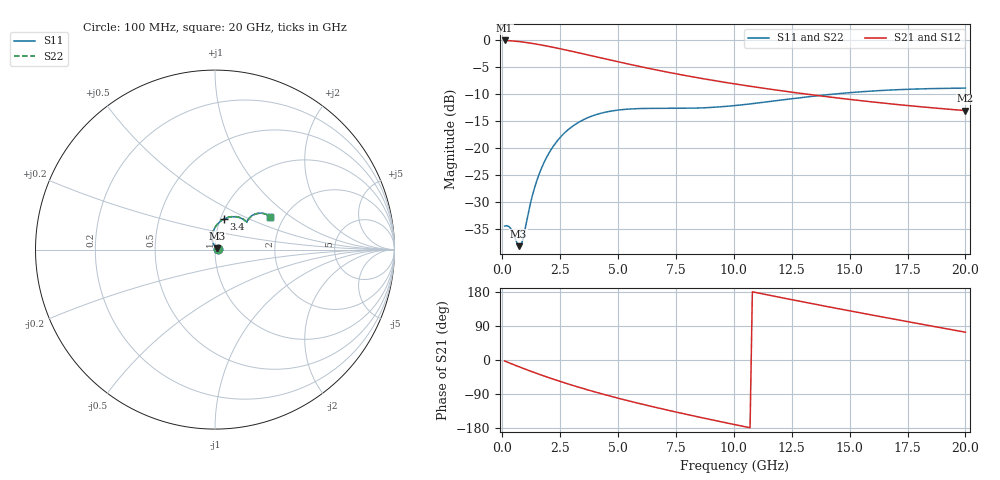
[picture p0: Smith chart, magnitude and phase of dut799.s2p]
! Touchstone file exported from HFSS 2024.1.0
!  File:  C:/UserFiles/LocalFiles/RDL_TSV_Batchsim/temp_RDL_TSV_799_1779910211.aedt
!  Generated:  03:47:18 AM May 28, 2026
!  Design:  RDL_TSV
!  Project:  temp_RDL_TSV_799_1779910211
!  Setup:  Setup1
!  Solution:  Sweep
! Variables:
!  dtsv = 11.04um
!  hbump = 3um
!  htsv = 88.55um
!  ldown = 671.82um
!  lrdl = 531.01um
!  p = 40
!  p1 = 55.19um
!  rhole = 10um
!  subl = 4139.5um
!  t = 450um
!  tdown = 3.59um
!  trdl = 3.12um
!  viad = 10um
!  wdown = 27.56um
!  wrdl = 21.43um
!  xbump = 18um
# GHz S MA R 50.000000
! Terminal data exported
! Port[1] = TM1_1_T1
! Port[2] = TM1_4_T1
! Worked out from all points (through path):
!   200 points, 100 MHz to 20 GHz, reference 50 ohm
!   highest |S21| = -0.17 dB at 100 MHz (marker M1); lowest = -13.1 dB at 20 GHz (marker M2)
!   group delay of S21, straight-line fit = 37.6 ps
!   lowest |S11| = -38.1 dB at 700 MHz (marker M3), VSWR 1.03, Z = 50.9 + j0.838 ohm
!   |S11| at or under -10 dB: start of sweep to 14.46 GHz
!   |S22| runs from -38.1 to -9.0 dB; largest |S21 - S12| = 1.3e-14
!   S11 on the Smith chart (normalised r, x): 100 MHz: 1.04, +0.00; 3.4 GHz: 1.04, +0.37; 20 GHz: 1.70, +0.71
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0.1  0.01907 4.6  0.9803 -2.6  0.9803 -2.6  0.01907 4.6
! Gamma 0 0 0 0
! Port Impedance 50 0 50 0
0.4  0.0176 12.4  0.9718 -10.1  0.9718 -10.1  0.01759 12.4
0.7  0.01245 41.3  0.9585 -17.3  0.9585 -17.3  0.01243 41.6
0.8  0.01252 61.4  0.9531 -19.7  0.9531 -19.7  0.01251 61.7
0.9  0.01468 80.1  0.9473 -22.1  0.9473 -22.1  0.0147 80.4
1.2  0.0299 104.0  0.9275 -29.0  0.9275 -29.0  0.03002 104.2
1.4  0.04344 106.3  0.9128 -33.5  0.9128 -33.5  0.04362 106.4
1.6  0.05813 105.0  0.8972 -37.9  0.8972 -37.9  0.05838 105.2
1.9  0.08099 100.6  0.8727 -44.3  0.8727 -44.3  0.08133 100.7
2.6  0.1319 87.5  0.8132 -58.5  0.8132 -58.5  0.1325 87.6
3.4  0.1777 73.4  0.7456 -73.6  0.7456 -73.6  0.1786 73.5
3.5  0.1823 71.8  0.7373 -75.5  0.7373 -75.5  0.1832 71.9
4.3  0.2102 60.6  0.6741 -89.4  0.6741 -89.4  0.2115 60.7
5.1  0.225 52.2  0.6169 -102.3  0.6169 -102.3  0.2265 52.2
5.9  0.2309 46.3  0.5662 -114.6  0.5662 -114.6  0.2326 46.2
6.8  0.232 42.3  0.5168 -127.6  0.5168 -127.6  0.2338 42.2
8.3  0.2331 40.6  0.4497 -148.1  0.4497 -148.1  0.2348 40.3
10.1  0.2469 42.1  0.388 -171.3  0.388 -171.3  0.248 41.8
11.8  0.2724 42.8  0.3429 167.7  0.3429 167.7  0.2731 42.4
13.4  0.2998 41.5  0.3087 148.5  0.3087 148.5  0.3 41.2
16.7  0.3419 35.8  0.2562 110.3  0.2562 110.3  0.3419 35.5
20  0.3563 30.7  0.2213 73.3  0.2213 73.3  0.3563 30.4
